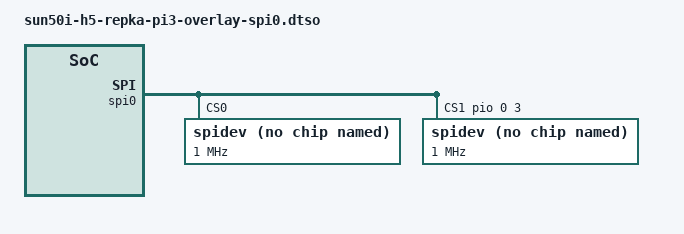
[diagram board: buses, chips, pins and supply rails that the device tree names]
/dts-v1/;
/plugin/;

/ {
    fragment@0 {
        target = <&spi0>;
        __overlay__ {
            pinctrl-names = "default", "default";
            pinctrl-1 = <&spi0_cs1>;
            cs-gpios = <0>, <&pio 0 3 0>; /* PA3 */
            status = "okay";
            spidev@0 {
                compatible = "rohm,dh2228fv";
                status = "okay";
                reg = <0>;
                spi-max-frequency = <1000000>;
            };
            spidev@1 {
                compatible = "rohm,dh2228fv";
                status = "okay";
                reg = <1>;
                spi-max-frequency = <1000000>;
            };
        };
    };
};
